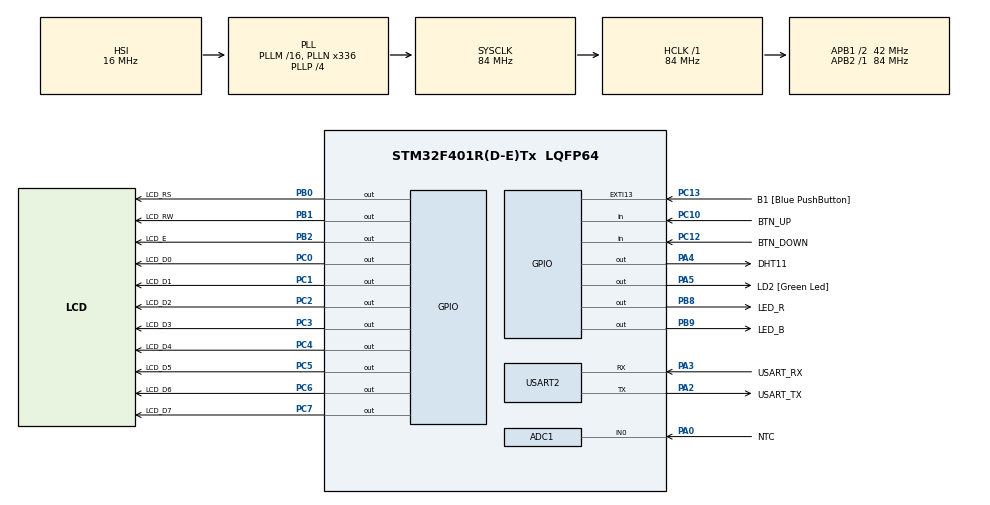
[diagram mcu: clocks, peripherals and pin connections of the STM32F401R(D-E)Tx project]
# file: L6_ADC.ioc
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ADC1.Channel-0\#ChannelRegularConversion=ADC_CHANNEL_VREFINT
ADC1.Channel-1\#ChannelRegularConversion=ADC_CHANNEL_TEMPSENSOR
ADC1.Channel-2\#ChannelRegularConversion=ADC_CHANNEL_0
ADC1.Channel-3\#ChannelRegularConversion=ADC_CHANNEL_0
ADC1.ClockPrescaler=ADC_CLOCK_SYNC_PCLK_DIV4
ADC1.ContinuousConvMode=ENABLE
ADC1.DMAContinuousRequests=DISABLE
ADC1.DataAlign=ADC_DATAALIGN_RIGHT
ADC1.DiscontinuousConvMode=DISABLE
ADC1.EOCSelection=ADC_EOC_SINGLE_CONV
ADC1.EnableAnalogWatchDog=false
ADC1.ExternalTrigConv=ADC_SOFTWARE_START
ADC1.ExternalTrigConvEdge=ADC_EXTERNALTRIGCONVEDGE_NONE
ADC1.InjNumberOfConversion=0
ADC1.NbrOfConversion=3
ADC1.NbrOfConversionFlag=1
ADC1.Rank-0\#ChannelRegularConversion=1
ADC1.Rank-1\#ChannelRegularConversion=2
ADC1.Rank-2\#ChannelRegularConversion=3
ADC1.Rank-3\#ChannelRegularConversion=4
ADC1.Resolution=ADC_RESOLUTION_12B
ADC1.SamplingTime-0\#ChannelRegularConversion=ADC_SAMPLETIME_480CYCLES
ADC1.SamplingTime-1\#ChannelRegularConversion=ADC_SAMPLETIME_480CYCLES
ADC1.SamplingTime-2\#ChannelRegularConversion=ADC_SAMPLETIME_480CYCLES
ADC1.SamplingTime-3\#ChannelRegularConversion=ADC_SAMPLETIME_3CYCLES
ADC1.ScanConvMode=ENABLE
ADC1.master=1
Mcu.Family=STM32F4
Mcu.Name=STM32F401R(D-E)Tx
Mcu.Package=LQFP64
NVIC.ADC_IRQn=true\:0\:0\:false\:false\:true\:true
NVIC.PriorityGroup=NVIC_PRIORITYGROUP_0
NVIC.TIM1_TRG_COM_TIM11_IRQn=true\:0\:0\:false\:false\:true\:true
NVIC.TIM1_UP_TIM10_IRQn=true\:0\:0\:false\:false\:true\:true
PA0-WKUP.GPIO_Label=NTC
PA0-WKUP.Signal=ADCx_IN0
PA13.GPIO_Label=TMS
PA13.Mode=Serial_Wire
PA13.Signal=SYS_JTMS-SWDIO
PA14.GPIO_Label=TCK
PA14.Mode=Serial_Wire
PA14.Signal=SYS_JTCK-SWCLK
PA2.GPIO_Label=USART_TX
PA2.GPIO_Mode=GPIO_MODE_AF_PP
PA2.GPIO_PuPd=GPIO_NOPULL
PA2.GPIO_Speed=GPIO_SPEED_FREQ_LOW
PA2.Mode=Asynchronous
PA2.Signal=USART2_TX
PA3.GPIO_Label=USART_RX
PA3.GPIO_Mode=GPIO_MODE_AF_PP
PA3.GPIO_PuPd=GPIO_NOPULL
PA3.GPIO_Speed=GPIO_SPEED_FREQ_LOW
PA3.Mode=Asynchronous
PA3.Signal=USART2_RX
PA4.GPIO_Label=DHT11
PA4.GPIO_ModeDefaultOutputPP=GPIO_MODE_OUTPUT_OD
PA4.GPIO_PuPd=GPIO_NOPULL
PA4.Signal=GPIO_Output
PA5.GPIO_Label=LD2 [Green Led]
PA5.GPIO_Mode=GPIO_MODE_OUTPUT_PP
PA5.GPIO_PuPd=GPIO_NOPULL
PA5.GPIO_Speed=GPIO_SPEED_FREQ_LOW
PA5.Signal=GPIO_Output
PB0.GPIO_Label=LCD_RS
PB0.Signal=GPIO_Output
PB1.GPIO_Label=LCD_RW
PB1.Signal=GPIO_Output
PB2.GPIO_Label=LCD_E
PB2.Signal=GPIO_Output
PB3.GPIO_Label=SWO
PB3.Signal=SYS_JTDO-SWO
PB8.GPIO_Label=LED_R
PB8.Signal=GPIO_Output
PB9.GPIO_Label=LED_B
PB9.Signal=GPIO_Output
PC0.GPIO_Label=LCD_D0
PC0.Signal=GPIO_Output
PC1.GPIO_Label=LCD_D1
PC1.Signal=GPIO_Output
PC10.GPIO_Label=BTN_UP
PC10.GPIO_PuPd=GPIO_PULLUP
PC10.Signal=GPIO_Input
PC12.GPIO_Label=BTN_DOWN
PC12.GPIO_PuPd=GPIO_PULLUP
PC12.Signal=GPIO_Input
PC13-ANTI_TAMP.GPIO_Label=B1 [Blue PushButton]
PC13-ANTI_TAMP.GPIO_ModeDefaultEXTI=GPIO_MODE_IT_FALLING
PC13-ANTI_TAMP.GPIO_PuPd=GPIO_NOPULL
PC13-ANTI_TAMP.Signal=GPXTI13
PC14-OSC32_IN.Mode=LSE-External-Clock-Source
PC14-OSC32_IN.Signal=RCC_OSC32_IN
PC15-OSC32_OUT.Mode=LSE-External-Clock-Source
PC15-OSC32_OUT.Signal=RCC_OSC32_OUT
PC2.GPIO_Label=LCD_D2
PC2.Signal=GPIO_Output
PC3.GPIO_Label=LCD_D3
PC3.Signal=GPIO_Output
PC4.GPIO_Label=LCD_D4
PC4.Signal=GPIO_Output
PC5.GPIO_Label=LCD_D5
PC5.Signal=GPIO_Output
PC6.GPIO_Label=LCD_D6
PC6.Signal=GPIO_Output
PC7.GPIO_Label=LCD_D7
PC7.Signal=GPIO_Output
PH0\ -\ OSC_IN.Mode=HSE-External-Clock-Source
PH0\ -\ OSC_IN.Signal=RCC_OSC_IN
PH1\ -\ OSC_OUT.Mode=HSE-External-Clock-Source
PH1\ -\ OSC_OUT.Signal=RCC_OSC_OUT
ProjectManager.HeapSize=0x200
ProjectManager.StackSize=0x400
ProjectManager.TargetToolchain=TrueSTUDIO
RCC.48MHZClocksFreq_Value=48000000
RCC.AHBFreq_Value=84000000
RCC.APB1CLKDivider=RCC_HCLK_DIV2
RCC.APB1Freq_Value=42000000
RCC.APB1TimFreq_Value=84000000
RCC.APB2Freq_Value=84000000
RCC.APB2TimFreq_Value=84000000
RCC.CortexFreq_Value=84000000
RCC.HCLKFreq_Value=84000000
RCC.HSE_VALUE=8000000
RCC.HSI_VALUE=16000000
RCC.LSE_VALUE=0.00000000000000000000000003276799999999999
RCC.PLLN=336
RCC.PLLP=RCC_PLLP_DIV4
RCC.PLLQ=7
RCC.SYSCLKFreq_VALUE=84000000
RCC.SYSCLKSource=RCC_SYSCLKSOURCE_PLLCLK
RCC.VCOOutputFreq_Value=336000000
SH.ADCx_IN0.0=ADC1_IN0,IN0
TIM10.Period=49999
TIM10.Prescaler=15
TIM11.Period=79
USART2.VirtualMode=VM_ASYNC
VP_ADC1_TempSens_Input.Mode=IN-TempSens
VP_ADC1_Vref_Input.Mode=IN-Vrefint
VP_TIM10_VS_ClockSourceINT.Mode=Enable_Timer
VP_TIM11_VS_ClockSourceINT.Mode=Enable_Timer
board=NUCLEO-F401RE

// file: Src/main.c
/**
  ******************************************************************************
  * @file           : main.c
  * @brief          : Main program body
  ******************************************************************************
  ** This notice applies to any and all portions of this file
  * that are not between comment pairs USER CODE BEGIN and
  * USER CODE END. Other portions of this file, whether
  * inserted by the user or by software development tools
  * are owned by their respective copyright owners.
  *
  * COPYRIGHT(c) 2018 STMicroelectronics
  *
  * Redistribution and use in source and binary forms, with or without modification,
  * are permitted provided that the following conditions are met:
  *   1. Redistributions of source code must retain the above copyright notice,
  *      this list of conditions and the following disclaimer.
  *   2. Redistributions in binary form must reproduce the above copyright notice,
  *      this list of conditions and the following disclaimer in the documentation
  *      and/or other materials provided with the distribution.
  *   3. Neither the name of STMicroelectronics nor the names of its contributors
  *      may be used to endorse or promote products derived from this software
  *      without specific prior written permission.
  *
  * THIS SOFTWARE IS PROVIDED BY THE COPYRIGHT HOLDERS AND CONTRIBUTORS "AS IS"
  * AND ANY EXPRESS OR IMPLIED WARRANTIES, INCLUDING, BUT NOT LIMITED TO, THE
  * IMPLIED WARRANTIES OF MERCHANTABILITY AND FITNESS FOR A PARTICULAR PURPOSE ARE
  * DISCLAIMED. IN NO EVENT SHALL THE COPYRIGHT HOLDER OR CONTRIBUTORS BE LIABLE
  * FOR ANY DIRECT, INDIRECT, INCIDENTAL, SPECIAL, EXEMPLARY, OR CONSEQUENTIAL
  * DAMAGES (INCLUDING, BUT NOT LIMITED TO, PROCUREMENT OF SUBSTITUTE GOODS OR
  * SERVICES; LOSS OF USE, DATA, OR PROFITS; OR BUSINESS INTERRUPTION) HOWEVER
  * CAUSED AND ON ANY THEORY OF LIABILITY, WHETHER IN CONTRACT, STRICT LIABILITY,
  * OR TORT (INCLUDING NEGLIGENCE OR OTHERWISE) ARISING IN ANY WAY OUT OF THE USE
  * OF THIS SOFTWARE, EVEN IF ADVISED OF THE POSSIBILITY OF SUCH DAMAGE.
  *
  ******************************************************************************
  */
#include "main.h"
#include "stm32f4xx_hal.h"

/* USER CODE BEGIN Includes */
#include "LCD.h"
#include "delay.h"
#include "stdlib.h"
#include "stdio.h"
#include "string.h"

#define VREFIN_CAL_ADDR ((uint16_t*)((uint32_t) 0x1FFF7A2A)) 	// from datasheet page 76 i databladet
#define TS_CAL30_ADDR ((uint16_t*)((uint32_t) 0x1FFF7A2C)) 		// TS_CAL1 frеn tabell 73 i databladet
#define TS_CAL110_ADDR ((uint16_t*)((uint32_t) 0x1FFF7A2E))		// TS_CAL2 frеn tabell 73 i databladet

/* USER CODE END Includes */

ADC_HandleTypeDef hadc1;

TIM_HandleTypeDef htim10;
TIM_HandleTypeDef htim11;

UART_HandleTypeDef huart2;

/* USER CODE BEGIN PV */
/* Private variables ---------------------------------------------------------*/
volatile uint32_t sTick = 0;
extern uint32_t usTick;

//uint32_t NTC_arr[3];
uint8_t i = 0;

TextLCDType lcd;
volatile uint32_t termV = 0;
volatile uint32_t cpuV = 0;
volatile uint32_t vRef = 0;
volatile uint32_t outTemp = 0;
volatile uint32_t cpuTemp = 0;
volatile uint32_t tempSetter = 25;
int DHTout = 0, DHThum = 0;

uint16_t DHT11_timeout = 10000;
int16_t DHT11_buff_raw[41];
uint8_t DHT11_data[5];
char DHT11_char[10];
char DHT11_hum[10];
/* USER CODE END PV */

void SystemClock_Config(void);
static void MX_GPIO_Init(void);
static void MX_USART2_UART_Init(void);
static void MX_ADC1_Init(void);
static void MX_TIM10_Init(void);
static void MX_TIM11_Init(void);

/* USER CODE BEGIN PFP */
/* Private function prototypes -----------------------------------------------*/
void delay_us(uint32_t delay);
void printText(void);
void calcTemps();
void printNumber(uint32_t num);
int16_t Read_DHT11_bit_raw();
int16_t Read_DHT11();
void checkTemp();
void setTemp();

double internal_refvoltage(void);
double internal_tempsensor(void);
double termistorn(void);

/* USER CODE END PFP */

int main(void)
{

  /* MCU Configuration----------------------------------------------------------*/

  /* Reset of all peripherals, Initializes the Flash interface and the Systick. */
  HAL_Init();

  /* Configure the system clock */
  SystemClock_Config();

  /* Initialize all configured peripherals */
  MX_GPIO_Init();
  MX_USART2_UART_Init();
  MX_ADC1_Init();
  MX_TIM10_Init();
  MX_TIM11_Init();
  /* USER CODE BEGIN 2 */
  HAL_ADC_Start_IT(&hadc1);
  HAL_TIM_Base_Start_IT(&htim10);
  TextLCD_Init(&lcd, LCD_RS_GPIO_Port, LCD_RS_Pin, LCD_RW_Pin, LCD_E_Pin, LCD_D0_GPIO_Port, (LCD_D0_Pin|LCD_D1_Pin|LCD_D2_Pin|LCD_D3_Pin|LCD_D4_Pin|LCD_D5_Pin|LCD_D6_Pin|LCD_D7_Pin));

  /* USER CODE END 2 */

  /* Infinite loop */
  /* USER CODE BEGIN WHILE */
  while (1)
  {

	DHTout = Read_DHT11();
	itoa(DHTout, DHT11_char, 10);

	DHThum = DHT11_data[0];
	itoa(DHThum, DHT11_hum, 10);

	calcTemps();
	setTemp();
	checkTemp();
	TextLCD_Clear(&lcd);
	TextLCD_Position(&lcd, 0, 0);
	TextLCD_Puts(&lcd,"DHT11: ");
	TextLCD_Puts(&lcd, DHT11_char);
	TextLCD_Putchar(&lcd, 0xdf);
	TextLCD_Puts(&lcd, "C  ");
	TextLCD_Puts(&lcd, DHT11_hum);

	TextLCD_Position(&lcd, 12, 1);
	TextLCD_PutInt(&lcd, tempSetter);

	TextLCD_Position(&lcd, 0, 1);
	TextLCD_Puts(&lcd,"NTC: ");
	TextLCD_PutInt(&lcd, outTemp);
	TextLCD_Putchar(&lcd, 0xdf);
	TextLCD_Puts(&lcd, "C");

	HAL_Delay(1000);
  /* USER CODE END WHILE */

  }

}

void SystemClock_Config(void)
{

  RCC_OscInitTypeDef RCC_OscInitStruct;
  RCC_ClkInitTypeDef RCC_ClkInitStruct;

    /**Configure the main internal regulator output voltage
    */
  __HAL_RCC_PWR_CLK_ENABLE();

  __HAL_PWR_VOLTAGESCALING_CONFIG(PWR_REGULATOR_VOLTAGE_SCALE2);

    /**Initializes the CPU, AHB and APB busses clocks
    */
  RCC_OscInitStruct.OscillatorType = RCC_OSCILLATORTYPE_HSI;
  RCC_OscInitStruct.HSIState = RCC_HSI_ON;
  RCC_OscInitStruct.HSICalibrationValue = 16;
  RCC_OscInitStruct.PLL.PLLState = RCC_PLL_ON;
  RCC_OscInitStruct.PLL.PLLSource = RCC_PLLSOURCE_HSI;
  RCC_OscInitStruct.PLL.PLLM = 16;
  RCC_OscInitStruct.PLL.PLLN = 336;
  RCC_OscInitStruct.PLL.PLLP = RCC_PLLP_DIV4;
  RCC_OscInitStruct.PLL.PLLQ = 7;
  if (HAL_RCC_OscConfig(&RCC_OscInitStruct) != HAL_OK)
  {
    _Error_Handler(__FILE__, __LINE__);
  }

    /**Initializes the CPU, AHB and APB busses clocks
    */
  RCC_ClkInitStruct.ClockType = RCC_CLOCKTYPE_HCLK|RCC_CLOCKTYPE_SYSCLK
                              |RCC_CLOCKTYPE_PCLK1|RCC_CLOCKTYPE_PCLK2;
  RCC_ClkInitStruct.SYSCLKSource = RCC_SYSCLKSOURCE_PLLCLK;
  RCC_ClkInitStruct.AHBCLKDivider = RCC_SYSCLK_DIV1;
  RCC_ClkInitStruct.APB1CLKDivider = RCC_HCLK_DIV2;
  RCC_ClkInitStruct.APB2CLKDivider = RCC_HCLK_DIV1;

  if (HAL_RCC_ClockConfig(&RCC_ClkInitStruct, FLASH_LATENCY_2) != HAL_OK)
  {
    _Error_Handler(__FILE__, __LINE__);
  }

    /**Configure the Systick interrupt time
    */
  HAL_SYSTICK_Config(HAL_RCC_GetHCLKFreq()/1000);

    /**Configure the Systick
    */
  HAL_SYSTICK_CLKSourceConfig(SYSTICK_CLKSOURCE_HCLK);

  /* SysTick_IRQn interrupt configuration */
  HAL_NVIC_SetPriority(SysTick_IRQn, 0, 0);
}

/* ADC1 init function */
static void MX_ADC1_Init(void)
{

  ADC_ChannelConfTypeDef sConfig;

    /**Configure the global features of the ADC (Clock, Resolution, Data Alignment and number of conversion)
    */
  hadc1.Instance = ADC1;
  hadc1.Init.ClockPrescaler = ADC_CLOCK_SYNC_PCLK_DIV4;
  hadc1.Init.Resolution = ADC_RESOLUTION_12B;
  hadc1.Init.ScanConvMode = ENABLE;
  hadc1.Init.ContinuousConvMode = ENABLE;
  hadc1.Init.DiscontinuousConvMode = DISABLE;
  hadc1.Init.ExternalTrigConvEdge = ADC_EXTERNALTRIGCONVEDGE_NONE;
  hadc1.Init.ExternalTrigConv = ADC_SOFTWARE_START;
  hadc1.Init.DataAlign = ADC_DATAALIGN_RIGHT;
  hadc1.Init.NbrOfConversion = 3;
  hadc1.Init.DMAContinuousRequests = DISABLE;
  hadc1.Init.EOCSelection = ADC_EOC_SINGLE_CONV;
  if (HAL_ADC_Init(&hadc1) != HAL_OK)
  {
    _Error_Handler(__FILE__, __LINE__);
  }

    /**Configure for the selected ADC regular channel its corresponding rank in the sequencer and its sample time.
    */
  sConfig.Channel = ADC_CHANNEL_VREFINT;
  sConfig.Rank = 1;
  sConfig.SamplingTime = ADC_SAMPLETIME_480CYCLES;
  if (HAL_ADC_ConfigChannel(&hadc1, &sConfig) != HAL_OK)
  {
    _Error_Handler(__FILE__, __LINE__);
  }

    /**Configure for the selected ADC regular channel its corresponding rank in the sequencer and its sample time.
    */
  sConfig.Channel = ADC_CHANNEL_TEMPSENSOR;
  sConfig.Rank = 2;
  if (HAL_ADC_ConfigChannel(&hadc1, &sConfig) != HAL_OK)
  {
    _Error_Handler(__FILE__, __LINE__);
  }

    /**Configure for the selected ADC regular channel its corresponding rank in the sequencer and its sample time.
    */
  sConfig.Channel = ADC_CHANNEL_0;
  sConfig.Rank = 3;
  if (HAL_ADC_ConfigChannel(&hadc1, &sConfig) != HAL_OK)
  {
    _Error_Handler(__FILE__, __LINE__);
  }

}

/* TIM10 init function */
static void MX_TIM10_Init(void)
{

  htim10.Instance = TIM10;
  htim10.Init.Prescaler = 15;
  htim10.Init.CounterMode = TIM_COUNTERMODE_UP;
  htim10.Init.Period = 49999;
  htim10.Init.ClockDivision = TIM_CLOCKDIVISION_DIV1;
  if (HAL_TIM_Base_Init(&htim10) != HAL_OK)
  {
    _Error_Handler(__FILE__, __LINE__);
  }

}

/* TIM11 init function */
static void MX_TIM11_Init(void)
{

  htim11.Instance = TIM11;
  htim11.Init.Prescaler = 0;
  htim11.Init.CounterMode = TIM_COUNTERMODE_UP;
  htim11.Init.Period = 79;
  htim11.Init.ClockDivision = TIM_CLOCKDIVISION_DIV1;
  if (HAL_TIM_Base_Init(&htim11) != HAL_OK)
  {
    _Error_Handler(__FILE__, __LINE__);
  }

}

/* USART2 init function */
static void MX_USART2_UART_Init(void)
{

  huart2.Instance = USART2;
  huart2.Init.BaudRate = 115200;
  huart2.Init.WordLength = UART_WORDLENGTH_8B;
  huart2.Init.StopBits = UART_STOPBITS_1;
  huart2.Init.Parity = UART_PARITY_NONE;
  huart2.Init.Mode = UART_MODE_TX_RX;
  huart2.Init.HwFlowCtl = UART_HWCONTROL_NONE;
  huart2.Init.OverSampling = UART_OVERSAMPLING_16;
  if (HAL_UART_Init(&huart2) != HAL_OK)
  {
    _Error_Handler(__FILE__, __LINE__);
  }

}

/** Configure pins as
        * Analog
        * Input
        * Output
        * EVENT_OUT
        * EXTI
*/
static void MX_GPIO_Init(void)
{

  GPIO_InitTypeDef GPIO_InitStruct;

  /* GPIO Ports Clock Enable */
  __HAL_RCC_GPIOC_CLK_ENABLE();
  __HAL_RCC_GPIOH_CLK_ENABLE();
  __HAL_RCC_GPIOA_CLK_ENABLE();
  __HAL_RCC_GPIOB_CLK_ENABLE();

  /*Configure GPIO pin Output Level */
  HAL_GPIO_WritePin(GPIOC, LCD_D0_Pin|LCD_D1_Pin|LCD_D2_Pin|LCD_D3_Pin
                          |LCD_D4_Pin|LCD_D5_Pin|LCD_D6_Pin|LCD_D7_Pin, GPIO_PIN_RESET);

  /*Configure GPIO pin Output Level */
  HAL_GPIO_WritePin(GPIOA, DHT11_Pin|LD2_Pin, GPIO_PIN_RESET);

  /*Configure GPIO pin Output Level */
  HAL_GPIO_WritePin(GPIOB, LCD_RS_Pin|LCD_RW_Pin|LCD_E_Pin|LED_R_Pin
                          |LED_B_Pin, GPIO_PIN_RESET);

  /*Configure GPIO pin : B1_Pin */
  GPIO_InitStruct.Pin = B1_Pin;
  GPIO_InitStruct.Mode = GPIO_MODE_IT_FALLING;
  GPIO_InitStruct.Pull = GPIO_NOPULL;
  HAL_GPIO_Init(B1_GPIO_Port, &GPIO_InitStruct);

  /*Configure GPIO pins : LCD_D0_Pin LCD_D1_Pin LCD_D2_Pin LCD_D3_Pin
                           LCD_D4_Pin LCD_D5_Pin LCD_D6_Pin LCD_D7_Pin */
  GPIO_InitStruct.Pin = LCD_D0_Pin|LCD_D1_Pin|LCD_D2_Pin|LCD_D3_Pin
                          |LCD_D4_Pin|LCD_D5_Pin|LCD_D6_Pin|LCD_D7_Pin;
  GPIO_InitStruct.Mode = GPIO_MODE_OUTPUT_PP;
  GPIO_InitStruct.Pull = GPIO_NOPULL;
  GPIO_InitStruct.Speed = GPIO_SPEED_FREQ_LOW;
  HAL_GPIO_Init(GPIOC, &GPIO_InitStruct);

  /*Configure GPIO pin : DHT11_Pin */
  GPIO_InitStruct.Pin = DHT11_Pin;
  GPIO_InitStruct.Mode = GPIO_MODE_OUTPUT_OD;
  GPIO_InitStruct.Pull = GPIO_NOPULL;
  GPIO_InitStruct.Speed = GPIO_SPEED_FREQ_LOW;
  HAL_GPIO_Init(DHT11_GPIO_Port, &GPIO_InitStruct);

  /*Configure GPIO pin : LD2_Pin */
  GPIO_InitStruct.Pin = LD2_Pin;
  GPIO_InitStruct.Mode = GPIO_MODE_OUTPUT_PP;
  GPIO_InitStruct.Pull = GPIO_NOPULL;
  GPIO_InitStruct.Speed = GPIO_SPEED_FREQ_LOW;
  HAL_GPIO_Init(LD2_GPIO_Port, &GPIO_InitStruct);

  /*Configure GPIO pins : LCD_RS_Pin LCD_RW_Pin LCD_E_Pin LED_R_Pin
                           LED_B_Pin */
  GPIO_InitStruct.Pin = LCD_RS_Pin|LCD_RW_Pin|LCD_E_Pin|LED_R_Pin
                          |LED_B_Pin;
  GPIO_InitStruct.Mode = GPIO_MODE_OUTPUT_PP;
  GPIO_InitStruct.Pull = GPIO_NOPULL;
  GPIO_InitStruct.Speed = GPIO_SPEED_FREQ_LOW;
  HAL_GPIO_Init(GPIOB, &GPIO_InitStruct);

  /*Configure GPIO pins : BTN_UP_Pin BTN_DOWN_Pin */
  GPIO_InitStruct.Pin = BTN_UP_Pin|BTN_DOWN_Pin;
  GPIO_InitStruct.Mode = GPIO_MODE_INPUT;
  GPIO_InitStruct.Pull = GPIO_PULLUP;
  HAL_GPIO_Init(GPIOC, &GPIO_InitStruct);

}

/* USER CODE BEGIN 4 */
void HAL_ADC_ConvCpltCallback(ADC_HandleTypeDef* AdcHandle){

	if(__HAL_ADC_GET_FLAG(AdcHandle, ADC_FLAG_EOC)){
		if(i == 0){
			vRef = HAL_ADC_GetValue(&hadc1);
			i++;
		}
		else if(i == 1){
			cpuV = HAL_ADC_GetValue(&hadc1);
			i++;
		}
		else if(i == 2){
			termV = HAL_ADC_GetValue(&hadc1);
			i = 0;
		}
	}
}
int16_t Read_DHT11_bit_raw(){
	uint16_t cnt_low = 0;
	uint16_t cnt_high = 0;

	//Count how long many loops the GPIO pin is low
	while(HAL_GPIO_ReadPin(DHT11_GPIO_Port, DHT11_Pin) == 0){
		cnt_low++;
		if(cnt_low >= DHT11_timeout)
			return DHT11_timeout;
	}

	//Count how long many loops the GPIO pin is high
	while(HAL_GPIO_ReadPin(DHT11_GPIO_Port, DHT11_Pin) == 1){
			cnt_high++;
			if(cnt_high >= DHT11_timeout)
				return DHT11_timeout;
		}
	// Return the difference between low and high count.
	// Will be < 0 for a '0'-bit and > 0 for a '1'-bit
	return cnt_high-cnt_low;
}
int16_t Read_DHT11(){
	uint16_t cnt=0;

	HAL_Delay(100);
	HAL_GPIO_WritePin(DHT11_GPIO_Port, DHT11_Pin, 0);
	HAL_Delay(20);
	HAL_GPIO_WritePin(DHT11_GPIO_Port, DHT11_Pin, 1);

	// Make sure GPIO is high before we start to capture data from DHT11 sensor
	while(HAL_GPIO_ReadPin(DHT11_GPIO_Port, DHT11_Pin) == 1){
		cnt++;
		if(cnt > DHT11_timeout)
			return -99;
	}
	// Read raw bit timing values. Negative values indicates 0 and positive values 1.
	for(uint8_t k=0; k < 41; k++)
		DHT11_buff_raw[k] = Read_DHT11_bit_raw();

	uint8_t val;
	for(uint8_t byte = 0; byte < 5; byte++){
		val = 0;
		for(uint8_t bit = 0; bit < 8; bit++){
			// Check if we timed out during reading bit
			if(DHT11_buff_raw[(byte << 3)+bit+1] >= DHT11_timeout)
				return -99;

			val = val << 1;	// shift left as MSB first
			// Check if raw bit value is > 0, then it is a '1' bit
			if(DHT11_buff_raw[(byte << 3)+bit+1] > 0)
				val = val | 0x01;
		}
		DHT11_data[byte] = val;
	}

	uint8_t sum = 0;
	for(uint8_t byte = 0; byte < 4; byte++)
		sum = sum + DHT11_data[byte];

	if(sum != DHT11_data[4])
		return -99;

	return DHT11_data[2];

}
void printNumber(uint32_t num){

	int n = log10(num) + 1;
	char numArr[n];
	for(int i = 0; i < n; ++i, num /= 10)
		numArr[i] = (0x030+(num % 10));
	for(int x = n-1; x >= 0; x--)
		TextLCD_Putchar(&lcd, numArr[x]);

}
void calcTemps(){
	  cpuTemp = (uint32_t) (80/(*TS_CAL110_ADDR - *TS_CAL30_ADDR) * (cpuV - *TS_CAL30_ADDR) + 30);
	  outTemp = (uint32_t) (termV * 0.02882882883 - 64.18918919);
}
void checkTemp(){
	if(outTemp == tempSetter){
		HAL_GPIO_WritePin(GPIOB, LED_R_Pin, 0);
		HAL_GPIO_WritePin(GPIOB, LED_B_Pin, 0);
	}

	if(outTemp > tempSetter){
		HAL_GPIO_WritePin(GPIOB, LED_R_Pin, 1);
		HAL_GPIO_WritePin(GPIOB, LED_B_Pin, 0);
	}

	if(outTemp < tempSetter){
		HAL_GPIO_WritePin(GPIOB, LED_R_Pin, 0);
		HAL_GPIO_WritePin(GPIOB, LED_B_Pin, 1);
	}
}
void setTemp(){
	if(HAL_GPIO_ReadPin(GPIOC, BTN_UP_Pin) == 1)
		tempSetter--;
	if(HAL_GPIO_ReadPin(GPIOC, BTN_DOWN_Pin) == 1)
		tempSetter++;
}
/* USER CODE END 4 */

void _Error_Handler(char *file, int line)
{
  while(1)
  {
  }
}

/************************ (C) COPYRIGHT STMicroelectronics *****END OF FILE****/
